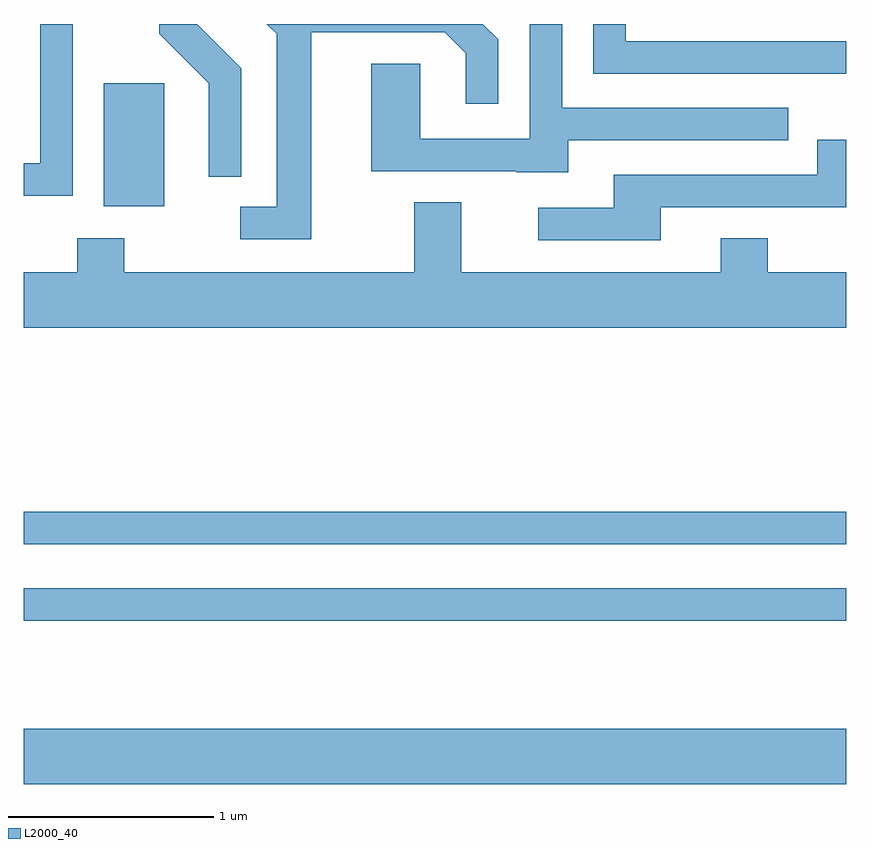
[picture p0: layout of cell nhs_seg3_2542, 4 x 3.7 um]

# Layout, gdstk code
import gdstk
lib = gdstk.Library(unit=1e-6, precision=1e-09)
def R(c, l, rs):  # rectangles x0, y0, x1, y1
    for r in rs: c.add(gdstk.rectangle(r[:2], r[2:], *l))
def P(c, l, *ps):  # polygons
    for p in ps: c.add(gdstk.Polygon(p, *l))
L2000_40 = (2000, 40)

nhs_seg3_2542 = lib.new_cell('nhs_seg3_2542')
R(nhs_seg3_2542, L2000_40, [(259.611,1168.196,263.611,1168.464), (259.611,1168.991,263.611,1169.149), (259.611,1169.361,263.611,1169.519), (260.001,1171.006,260.294,1171.604)])
P(nhs_seg3_2542, L2000_40, [(259.849,1171.892),(259.691,1171.892),(259.691,1171.214),(259.611,1171.214),(259.611,1171.056),(259.849,1171.056)],
  [(260.669,1171.677),(260.454,1171.892),(260.271,1171.892),(260.271,1171.844),(260.511,1171.604),(260.511,1171.148),(260.669,1171.148)],
  [(263.611,1171.809),(262.539,1171.809),(262.539,1171.892),(262.381,1171.892),(262.381,1171.651),(263.611,1171.651)],
  [(262.259,1171.326),(263.328,1171.326),(263.328,1171.484),(262.229,1171.484),(262.229,1171.892),(262.071,1171.892),(262.071,1171.334),(261.539,1171.334),(261.539,1171.699),(261.301,1171.699),(261.301,1171.176),(262.005,1171.176),(262.005,1171.171),(262.259,1171.171)],
  [(261.009,1171.851),(261.659,1171.851),(261.761,1171.749),(261.761,1171.503),(261.919,1171.503),(261.919,1171.817),(261.844,1171.892),(260.793,1171.892),(260.841,1171.844),(260.841,1171.004),(260.663,1171.004),(260.663,1170.846),(261.009,1170.846)],
  [(262.709,1171.001),(263.611,1171.001),(263.611,1171.329),(263.471,1171.329),(263.471,1171.159),(262.481,1171.159),(262.481,1170.999),(262.113,1170.999),(262.113,1170.841),(262.709,1170.841)],
  [(261.511,1171.024),(261.511,1170.684),(260.099,1170.684),(260.099,1170.849),(259.871,1170.849),(259.871,1170.684),(259.611,1170.684),(259.611,1170.416),(263.611,1170.416),(263.611,1170.684),(263.229,1170.684),(263.229,1170.849),(263.001,1170.849),(263.001,1170.684),(261.739,1170.684),(261.739,1171.024)])

lib.write_gds('nhs_seg3_2542.gds')
